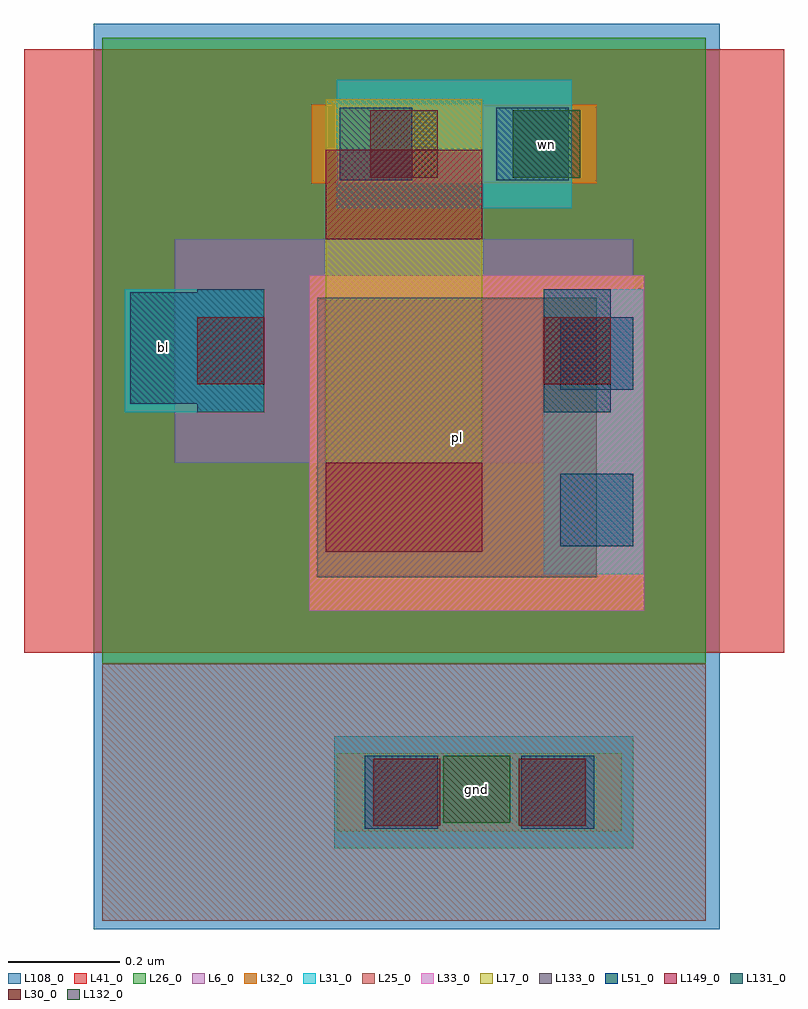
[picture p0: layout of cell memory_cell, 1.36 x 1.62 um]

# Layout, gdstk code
from math import pi, radians
import gdstk
lib = gdstk.Library(unit=1e-6, precision=1e-09)
def R(c, l, rs):  # rectangles x0, y0, x1, y1
    for r in rs: c.add(gdstk.rectangle(r[:2], r[2:], *l))
L6_0 = (6, 0)
L17_0 = (17, 0)
L25_0 = (25, 0)
L26_0 = (26, 0)
L30_0 = (30, 0)
L31_0 = (31, 0)
L32_0 = (32, 0)
L33_0 = (33, 0)
L41_0 = (41, 0)
L51_0 = (51, 0)
L108_0 = (108, 0)
L131_0 = (131, 0)
L132_0 = (132, 0)
L133_0 = (133, 0)
L149_0 = (149, 0)

pc_ct = lib.new_cell('pc_ct')
R(pc_ct, L30_0, [(0,0,0.12,0.12)])

nsvt25_cdns_582142089610 = lib.new_cell('nsvt25_CDNS_582142089610')
R(nsvt25_cdns_582142089610, L6_0, [(-0.27,0,0,0.4), (-0.27,0,0.55,0.4), (0.28,0,0.55,0.4)])
R(nsvt25_cdns_582142089610, L17_0, [(0,-0.16,0.28,0.56)])
R(nsvt25_cdns_582142089610, L26_0, [(-0.4,-0.36,0.68,0.76)])
R(nsvt25_cdns_582142089610, L31_0, [(-0.23,0.09,-0.11,0.31), (0.39,0.09,0.51,0.31)])
R(nsvt25_cdns_582142089610, L41_0, [(-0.54,-0.34,0.82,0.74)])
R(nsvt25_cdns_582142089610, L131_0, [(-0.23,0.09,-0.11,0.31), (0.39,0.09,0.51,0.31)])
R(nsvt25_cdns_582142089610, L149_0, [(0,-0.16,0.28,0), (0,0.4,0.28,0.56)])
r = gdstk.Reference(pc_ct, (0.39,0.14)); r.repetition = gdstk.Repetition(1, 1, v1=(0.26,0), v2=(0,0.26)); nsvt25_cdns_582142089610.add(r)
r = gdstk.Reference(pc_ct, (-0.23,0.14)); r.repetition = gdstk.Repetition(1, 1, v1=(0.26,0), v2=(0,0.26)); nsvt25_cdns_582142089610.add(r)
nsvt25_cdns_582142089610.add(gdstk.Label('d', (0.28,0), layer=6, texttype=0))
nsvt25_cdns_582142089610.add(gdstk.Label('s', (0,0), layer=6, texttype=0))
nsvt25_cdns_582142089610.add(gdstk.Label('d', (0.415,0.2), layer=127, texttype=0))
nsvt25_cdns_582142089610.add(gdstk.Label('s', (-0.135,0.2), layer=127, texttype=0))
nsvt25_cdns_582142089610.add(gdstk.Label('d', (0.45,0.2), layer=131, texttype=0))
nsvt25_cdns_582142089610.add(gdstk.Label('s', (-0.17,0.2), layer=131, texttype=0))
nsvt25_cdns_582142089610.add(gdstk.Label('g', (0.14,0.48), layer=149, texttype=0))
nsvt25_cdns_582142089610.add(gdstk.Label('g', (0.14,-0.08), layer=149, texttype=0))

m1__po_cdns_582142089610 = lib.new_cell('M1__PO_CDNS_582142089610')
R(m1__po_cdns_582142089610, L17_0, [(-0.08,-0.11,0.08,0.11)])
R(m1__po_cdns_582142089610, L30_0, [(-0.06,-0.06,0.06,0.06)])
R(m1__po_cdns_582142089610, L31_0, [(-0.06,-0.11,0.06,0.11)])

m2_m1_s_cdns_58214208961 = lib.new_cell('M2_M1_S_CDNS_582142089611')
R(m2_m1_s_cdns_58214208961, L31_0, [(-0.21,-0.115,0.21,0.115)])
R(m2_m1_s_cdns_58214208961, L32_0, [(-0.255,-0.07,0.255,0.07)])
R(m2_m1_s_cdns_58214208961, L51_0, [(-0.205,-0.065,-0.075,0.065), (0.075,-0.065,0.205,0.065)])

m2_m1_g_cdns_58214208961 = lib.new_cell('M2_M1_G_CDNS_582142089612')
R(m2_m1_g_cdns_58214208961, L31_0, [(-0.255,-0.07,0.255,0.07)])
R(m2_m1_g_cdns_58214208961, L32_0, [(-0.255,-0.07,0.255,0.07)])
R(m2_m1_g_cdns_58214208961, L51_0, [(-0.205,-0.065,-0.075,0.065), (0.075,-0.065,0.205,0.065)])

memory_cell = lib.new_cell('memory_cell')
R(memory_cell, L17_0, [(0.73,1.36,1.01,1.45)])
R(memory_cell, L25_0, [(0.33,-0.02,0.615,0.44)])
R(memory_cell, L30_0, [(0.815,0.15,0.935,0.27), (1.075,0.15,1.195,0.27)])
R(memory_cell, L31_0, [(1.12,0.6,1.3,1.11), (0.37,0.89,0.5,1.11)])
R(memory_cell, L32_0, [(0.7,0.535,1.3,1.135)])
R(memory_cell, L33_0, [(0.7,0.535,1.3,1.135)])
R(memory_cell, L108_0, [(0.315,-0.035,1.435,1.585)])
R(memory_cell, L131_0, [(0.38,0.905,0.5,1.105)])
R(memory_cell, L132_0, [(0.94,0.155,1.06,0.275), (1.065,1.31,1.185,1.43)])
R(memory_cell, L133_0, [(0.715,0.595,1.215,1.095)])
memory_cell.add(gdstk.FlexPath([(0.745,0.21),(1.28,0.21)], 0.2, ends="flush", simple_path=True, layer=6, datatype=0))  # L6_0
memory_cell.add(gdstk.FlexPath([(0.745,0.21),(1.28,0.21)], 0.2, ends="flush", simple_path=True, layer=31, datatype=0))  # L31_0
memory_cell.add(gdstk.FlexPath([(0.615,0.21),(1.41,0.21)], 0.46, ends="flush", simple_path=True, layer=25, datatype=0))  # L25_0
memory_cell.add(gdstk.Reference(nsvt25_cdns_582142089610, (0.73,0.8)))
memory_cell.add(gdstk.Reference(m1__po_cdns_582142089610, (0.87,1.37), rotation=3*pi/2))
memory_cell.add(gdstk.Reference(m2_m1_s_cdns_58214208961, (0.96,1.37)))
memory_cell.add(gdstk.Reference(m2_m1_g_cdns_58214208961, (1.005,0.21)))
memory_cell.add(gdstk.Reference(m2_m1_g_cdns_58214208961, (1.215,0.855), rotation=pi/2))
memory_cell.add(gdstk.Label('bl', (0.44,1.005), layer=131, texttype=0))
memory_cell.add(gdstk.Label('gnd', (1,0.215), layer=132, texttype=0))
memory_cell.add(gdstk.Label('wn', (1.125,1.37), layer=132, texttype=0))
memory_cell.add(gdstk.Label('pl', (0.965,0.845), layer=133, texttype=0))

lib.write_gds('memory_cell.gds')
